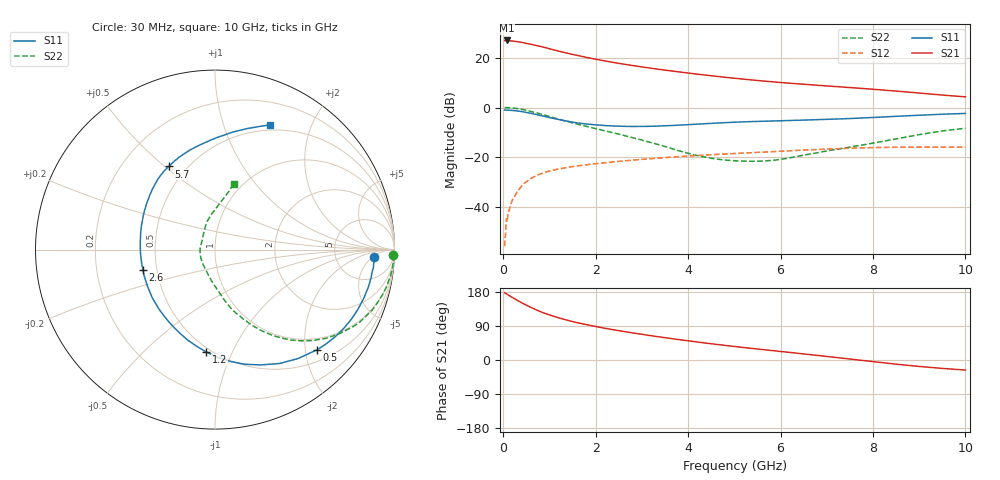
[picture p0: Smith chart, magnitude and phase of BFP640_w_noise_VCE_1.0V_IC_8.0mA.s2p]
! Infineon Technologies  Discrete & RF Semiconductors
! BFP640
! VCE =  1.0 V,  IC =  8.0 mA
! Common Emitter S-Parameters:  Apr 2013
# GHz  S  MA  R  50
!  f  S11  S21  S12  S22
! GHz  MAG  ANG  MAG  ANG  MAG  ANG  MAG  ANG
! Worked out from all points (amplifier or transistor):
!   99 points, 30 MHz to 10 GHz, reference 50 ohm
!   highest |S21| = 27.0 dB at 80 MHz (marker M1)
!   |S21| within 3 dB of that: start of sweep to 931.2 MHz
!   unconditionally stable (mu >= 1): 4.372 GHz to end of sweep
!   at 350 MHz: K = 0.13, MSG = 29.6 dB, |S12| = -32.8 dB
!   at 3.5 GHz: K = 0.93, MSG = 17.6 dB, |S12| = -20.2 dB
!   at 10 GHz: K = 1.11, MAG = 8.1 dB, |S12| = -16.0 dB
!   lowest NFmin = 0.60 dB at 450 MHz
!   S11 on the Smith chart (normalised r, x): 30 MHz: 15, -6; 500 MHz: 0.73, -2.25; 1.2 GHz: 0.47, -0.80; 2.6 GHz: 0.42, -0.12; 5.7 GHz: 0.40, +0.52; 10 GHz: 0.44, +1.44
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0.03  0.8892 -2.7  22.31 177.4  0.0016 92.1  0.9947 -1.7
0.06  0.8873 -5.4  22.47 175.2  0.0047 84.6  0.9959 -3.6
0.08  0.8854 -7.3  22.49 173.7  0.0049 81.8  0.994 -4.8
0.14  0.8799 -12.9  22.25 169.3  0.0092 85.7  0.9884 -8.6
0.3  0.8529 -27.2  21.26 157.8  0.0199 75.9  0.9518 -18.2
0.4  0.8267 -36.1  20.61 151.0  0.0263 72.0  0.9173 -24.0
0.5  0.7972 -44.4  19.66 144.8  0.0317 68.1  0.8784 -29.4
0.6  0.7632 -52.7  18.84 138.8  0.0371 64.1  0.8342 -34.3
0.8  0.6907 -68.5  17.13 127.9  0.0456 57.4  0.7439 -42.9
1  0.6278 -82.4  15.32 119.0  0.0524 51.9  0.6587 -49.9
1.2  0.5724 -94.9  13.71 111.3  0.0578 47.7  0.583 -55.6
1.4  0.5271 -106.6  12.36 104.6  0.0622 44.6  0.5189 -60.3
1.7  0.4764 -123.1  10.74 95.9  0.0682 40.8  0.4392 -66.0
2.2  0.4326 -147.2  8.7 83.7  0.0769 36.3  0.3385 -74.8
2.6  0.4176 -163.9  7.503 75.5  0.0836 33.1  0.2757 -80.5
3.4  0.4249 167.2  5.837 60.7  0.0963 27.4  0.1745 -96.5
4.3  0.4667 142.4  4.592 45.9  0.1091 20.8  0.1025 -132.7
5.1  0.5092 127.4  3.813 34.3  0.1194 15.3  0.0837 -176.2
5.7  0.5299 119.0  3.375 26.4  0.127 11.4  0.0842 153.8
6.7  0.5655 106.3  2.855 13.4  0.1412 3.9  0.1181 120.8
8.5  0.6639 81.1  2.145 -11.0  0.1584 -12.3  0.2326 88.2
10  0.7597 66.1  1.64 -26.5  0.1588 -22.7  0.382 74.3
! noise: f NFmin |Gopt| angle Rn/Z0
0.45  0.6  0.33  11  0.07
0.9  0.61  0.32  18  0.07
1.5  0.64  0.29  30  0.07
1.9  0.67  0.23  49  0.08
2.4  0.72  0.21  58  0.08
3.5  0.84  0.17  76  0.09
5.5  1.07  0.23  -139  0.1
10  1.69  0.6  -62  0.41
